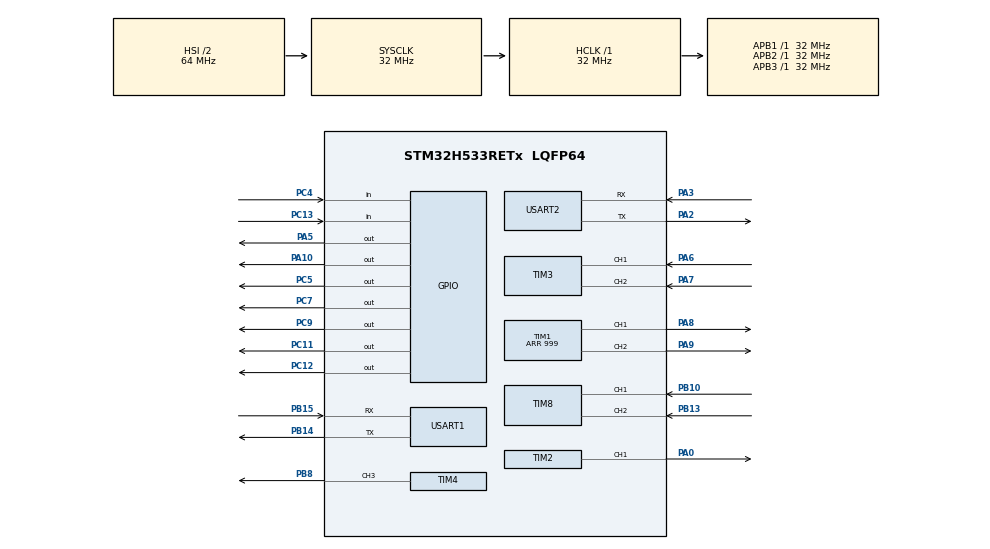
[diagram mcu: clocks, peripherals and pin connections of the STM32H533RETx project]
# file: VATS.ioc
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BOOTPATH.BootPathName=LEGACY
BOOTPATH.UserSelectedBootPath=LEGACY
CORTEX_M33_NS.userName=CORTEX_M33
Mcu.Family=STM32H5
Mcu.Name=STM32H533RETx
Mcu.Package=LQFP64
NVIC.PriorityGroup=NVIC_PRIORITYGROUP_4
NVIC.USART1_IRQn=true\:0\:0\:false\:false\:true\:true\:true\:true
NVIC.USART2_IRQn=true\:0\:0\:false\:false\:true\:true\:true\:true
PA0.Signal=S_TIM2_CH1
PA10.Signal=GPIO_Output
PA13(JTMS/SWDIO).GPIO_Label=SWDIO
PA13(JTMS/SWDIO).Signal=DEBUG_JTMS-SWDIO
PA14(JTCK/SWCLK).GPIO_Label=SWCLK
PA14(JTCK/SWCLK).Signal=DEBUG_JTCK-SWCLK
PA15(JTDI).GPIO_Label=JTDI
PA15(JTDI).Signal=DEBUG_JTDI
PA2.Mode=Asynchronous
PA2.Signal=USART2_TX
PA3.Mode=Asynchronous
PA3.Signal=USART2_RX
PA5.Signal=GPIO_Output
PA6.Signal=S_TIM3_CH1
PA7.Signal=S_TIM3_CH2
PA8.Signal=S_TIM1_CH1
PA9.Signal=S_TIM1_CH2
PB10.Signal=S_TIM8_CH1
PB13.Signal=S_TIM8_CH2
PB14.Mode=Asynchronous
PB14.Signal=USART1_TX
PB15.Mode=Asynchronous
PB15.Signal=USART1_RX
PB3(JTDO/TRACESWO).GPIO_Label=SWO
PB3(JTDO/TRACESWO).Signal=DEBUG_JTDO-SWO
PB6.Signal=I2C1_SCL
PB7.Signal=I2C1_SDA
PB8.Signal=S_TIM4_CH3
PC11.Signal=GPIO_Output
PC12.Signal=GPIO_Output
PC13.Signal=GPIO_Input
PC4.Signal=GPIO_Input
PC5.Signal=GPIO_Output
PC7.Signal=GPIO_Output
PC9.Signal=GPIO_Output
ProjectManager.HeapSize=0x200
ProjectManager.StackSize=0x400
ProjectManager.TargetToolchain=CMake
RCC.ADCFreq_Value=32000000
RCC.AHBFreq_Value=32000000
RCC.APB1Freq_Value=32000000
RCC.APB1TimFreq_Value=32000000
RCC.APB2Freq_Value=32000000
RCC.APB2TimFreq_Value=32000000
RCC.APB3Freq_Value=32000000
RCC.CSI_VALUE=4000000
RCC.CortexFreq_Value=32000000
RCC.EPOD_VALUE=4000000
RCC.HCLKFreq_Value=32000000
RCC.HSE_VALUE=25000000
RCC.HSI48_VALUE=48000000
RCC.HSI_VALUE=64000000
RCC.LSE_VALUE=32768
RCC.LSIRC_VALUE=32000
RCC.SYSCLKFreq_VALUE=32000000
RCC.USBFreq_Value=48000000
RCC.VCOOutputFreq_Value=516000000
SH.S_TIM1_CH1.0=TIM1_CH1,PWM Generation1 CH1
SH.S_TIM1_CH2.0=TIM1_CH2,PWM Generation2 CH2
SH.S_TIM2_CH1.0=TIM2_CH1,PWM Generation1 CH1
SH.S_TIM3_CH1.0=TIM3_CH1,Encoder_Interface
SH.S_TIM3_CH2.0=TIM3_CH2,Encoder_Interface
SH.S_TIM4_CH3.0=TIM4_CH3,PWM Generation3 CH3
SH.S_TIM8_CH1.0=TIM8_CH1,Encoder_Interface
SH.S_TIM8_CH2.0=TIM8_CH2,Encoder_Interface
TIM1.Channel-PWM\ Generation1\ CH1=TIM_CHANNEL_1
TIM1.Channel-PWM\ Generation2\ CH2=TIM_CHANNEL_2
TIM1.PeriodNoDither=999
TIM2.Channel-PWM\ Generation1\ CH1=TIM_CHANNEL_1
TIM4.Channel-PWM\ Generation3\ CH3=TIM_CHANNEL_3
TIM4.PeriodNoDither=19999
TIM4.Prescaler=31
TIM4.PulseNoDither_3=1500
USART1.VirtualMode-Asynchronous=VM_ASYNC
USART2.VirtualMode-Asynchronous=VM_ASYNC
VP_BOOTPATH_VS_BOOTPATH.Mode=BP_Activate
VP_CORTEX_M33_NS_VS_Hclk.Mode=Hclk_Mode
VP_MEMORYMAP_VS_MEMORYMAP.Mode=CurAppReg
VP_PWR_VS_LPOM.Mode=PowerOptimisation
VP_PWR_VS_SECSignals.Mode=Security/Privilege
VP_TIM1_VS_ClockSourceINT.Mode=Internal
VP_TIM2_VS_ClockSourceINT.Mode=Internal
VP_TIM4_VS_ClockSourceINT.Mode=Internal
board=NUCLEO-H533RE

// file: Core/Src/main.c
/* USER CODE BEGIN Header */
/**
  ******************************************************************************
  * @file           : main.c
  * @brief          : Main program body
  ******************************************************************************
  * @attention
  *
  * Copyright (c) 2026 STMicroelectronics.
  * All rights reserved.
  *
  * This software is licensed under terms that can be found in the LICENSE file
  * in the root directory of this software component.
  * If no LICENSE file comes with this software, it is provided AS-IS.
  *
  ******************************************************************************
  */
/* USER CODE END Header */
#include "main.h"
#include "tim.h"
#include "usart.h"
#include "gpio.h"

/* USER CODE BEGIN Includes */
#include "vats_config.h"
#include "Devices/motor.h"
#include "Devices/enkoder.h"
#include "Devices/servo.h"
#include "Devices/esp.h"
/* USER CODE END Includes */

/* USER CODE BEGIN PV */
static const char *reset_cause = "?";
/* USER CODE END PV */

void SystemClock_Config(void);

int main(void)
{

  /* MCU Configuration--------------------------------------------------------*/

  /* Reset of all peripherals, Initializes the Flash interface and the Systick. */
  HAL_Init();

  /* USER CODE BEGIN Init */
  /* Przyczyna resetu (kolejność: najbardziej znacząca pierwsza). BOR = spadek
   * zasilania; przy zwykłym włączeniu zasilania ustawione są BOR i PIN. */
  if (__HAL_RCC_GET_FLAG(RCC_FLAG_IWDGRST) != 0U)      reset_cause = "IWDG";
  else if (__HAL_RCC_GET_FLAG(RCC_FLAG_WWDGRST) != 0U) reset_cause = "WWDG";
  else if (__HAL_RCC_GET_FLAG(RCC_FLAG_LPWRRST) != 0U) reset_cause = "LPWR";
  else if (__HAL_RCC_GET_FLAG(RCC_FLAG_SFTRST) != 0U)  reset_cause = "SFT";
  else if (__HAL_RCC_GET_FLAG(RCC_FLAG_BORRST) != 0U)  reset_cause = "BOR";
  else if (__HAL_RCC_GET_FLAG(RCC_FLAG_PINRST) != 0U)  reset_cause = "PIN";
  __HAL_RCC_CLEAR_RESET_FLAGS();
  /* USER CODE END Init */

  /* Configure the system clock */
  SystemClock_Config();

  /* Initialize all configured peripherals */
  MX_GPIO_Init();
  MX_TIM1_Init();
  MX_TIM2_Init();
  MX_USART1_UART_Init();
  MX_TIM3_Init();
  MX_TIM4_Init();
  MX_TIM8_Init();
  MX_USART2_UART_Init();
  /* USER CODE BEGIN 2 */
  /* Najpierw silniki w stan bezpieczny, potem reszta. */
  if (motor_init() != HAL_OK)
  {
    Error_Handler();
  }
  if (encoder_init() != HAL_OK)
  {
    Error_Handler();
  }
  if (servo_init() != HAL_OK)
  {
    Error_Handler();
  }
  if (ESP_Init() != HAL_OK)
  {
    Error_Handler();
  }
  /* USER CODE END 2 */

  /* Infinite loop */
  /* USER CODE BEGIN WHILE */
  uint32_t last_control_tick = HAL_GetTick();
  uint32_t last_telemetry_tick = last_control_tick;
  uint32_t last_cmd_seq = 0U;
  EspCommand cmd;
  while (1)
  {
    /* USER CODE END WHILE */

    /* USER CODE BEGIN 3 */
    ESP_Poll();

    uint32_t now = HAL_GetTick();
    uint32_t elapsed = now - last_control_tick;
    if (elapsed >= CONTROL_PERIOD_MS)
    {
      last_control_tick = now;

      ESP_GetCommand(&cmd);
      if (cmd.seq != last_cmd_seq)
      {
        last_cmd_seq = cmd.seq;
        if (cmd.open_loop)
        {
          motor_set_open_loop(cmd.dir, cmd.open_loop_duty);
        }
        else
        {
          motor_set_target(cmd.dir, cmd.speed_rpm);
        }
        /* Błąd możliwy tylko przy niezainicjalizowanym serwie (wtedy Error_Handler wyżej). */
        (void)servo_set_angle(cmd.servo_angle);
      }

      encoder_update(elapsed);
      motor_control_update(elapsed);
    }

    if ((now - last_telemetry_tick) >= TELEMETRY_PERIOD_MS)
    {
      last_telemetry_tick = now;
      EspTelemetry t = {
        .rpm_l = encoder_get_rpm(WHEEL_LEFT),
        .rpm_r = encoder_get_rpm(WHEEL_RIGHT),
        .duty_l = motor_get_duty(WHEEL_LEFT),
        .duty_r = motor_get_duty(WHEEL_RIGHT),
        .enc_l = encoder_get_position(WHEEL_LEFT),
        .enc_r = encoder_get_position(WHEEL_RIGHT),
        .servo_angle = servo_get_angle(),
        .uptime_ms = now,
        .reset_cause = reset_cause,
      };
      /* HAL_BUSY = poprzednia ramka jeszcze leci; pomijamy tę próbkę. */
      (void)ESP_SendTelemetry(&t);
    }
  }
  /* USER CODE END 3 */
}

void SystemClock_Config(void)
{
  RCC_OscInitTypeDef RCC_OscInitStruct = {0};
  RCC_ClkInitTypeDef RCC_ClkInitStruct = {0};

  /** Configure the main internal regulator output voltage
  */
  __HAL_PWR_VOLTAGESCALING_CONFIG(PWR_REGULATOR_VOLTAGE_SCALE3);

  while(!__HAL_PWR_GET_FLAG(PWR_FLAG_VOSRDY)) {}

  /** Initializes the RCC Oscillators according to the specified parameters
  * in the RCC_OscInitTypeDef structure.
  */
  RCC_OscInitStruct.OscillatorType = RCC_OSCILLATORTYPE_HSI;
  RCC_OscInitStruct.HSIState = RCC_HSI_ON;
  RCC_OscInitStruct.HSIDiv = RCC_HSI_DIV2;
  RCC_OscInitStruct.HSICalibrationValue = RCC_HSICALIBRATION_DEFAULT;
  RCC_OscInitStruct.PLL.PLLState = RCC_PLL_NONE;
  if (HAL_RCC_OscConfig(&RCC_OscInitStruct) != HAL_OK)
  {
    Error_Handler();
  }

  /** Initializes the CPU, AHB and APB buses clocks
  */
  RCC_ClkInitStruct.ClockType = RCC_CLOCKTYPE_HCLK|RCC_CLOCKTYPE_SYSCLK
                              |RCC_CLOCKTYPE_PCLK1|RCC_CLOCKTYPE_PCLK2
                              |RCC_CLOCKTYPE_PCLK3;
  RCC_ClkInitStruct.SYSCLKSource = RCC_SYSCLKSOURCE_HSI;
  RCC_ClkInitStruct.AHBCLKDivider = RCC_SYSCLK_DIV1;
  RCC_ClkInitStruct.APB1CLKDivider = RCC_HCLK_DIV1;
  RCC_ClkInitStruct.APB2CLKDivider = RCC_HCLK_DIV1;
  RCC_ClkInitStruct.APB3CLKDivider = RCC_HCLK_DIV1;

  if (HAL_RCC_ClockConfig(&RCC_ClkInitStruct, FLASH_LATENCY_1) != HAL_OK)
  {
    Error_Handler();
  }

  /** Configure the programming delay
  */
  __HAL_FLASH_SET_PROGRAM_DELAY(FLASH_PROGRAMMING_DELAY_0);
}

void Error_Handler(void)
{
  /* USER CODE BEGIN Error_Handler_Debug */
  /* User can add his own implementation to report the HAL error return state */
  motor_emergency_stop();
  __disable_irq();
  while (1)
  {
  }
  /* USER CODE END Error_Handler_Debug */
}
